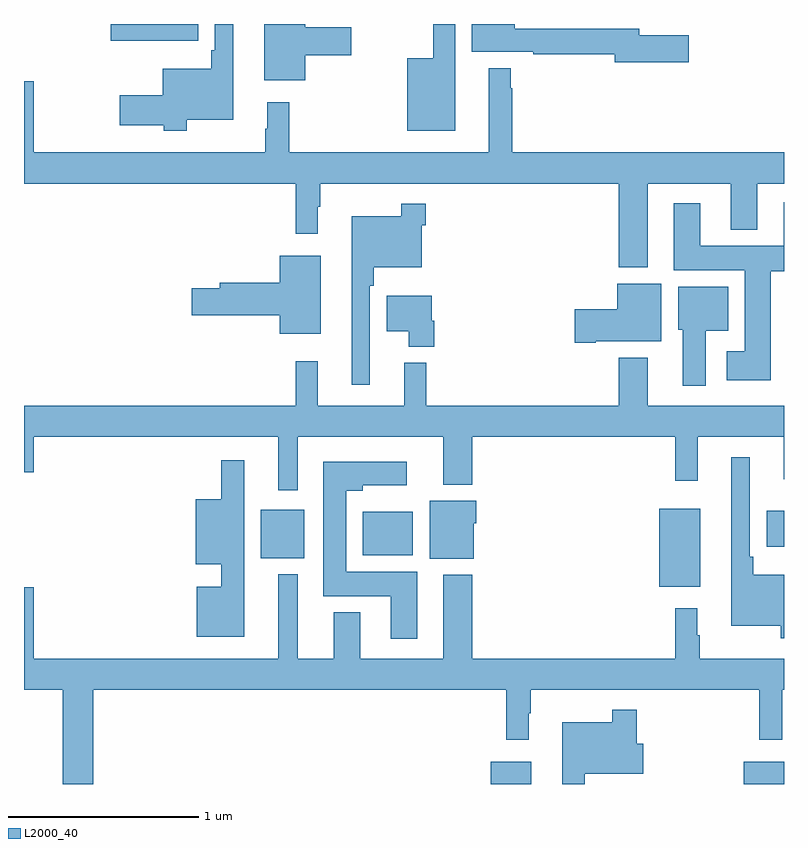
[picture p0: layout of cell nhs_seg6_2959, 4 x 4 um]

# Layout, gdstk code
import gdstk
lib = gdstk.Library(unit=1e-6, precision=1e-09)
def R(c, l, rs):  # rectangles x0, y0, x1, y1
    for r in rs: c.add(gdstk.rectangle(r[:2], r[2:], *l))
def P(c, l, *ps):  # polygons
    for p in ps: c.add(gdstk.Polygon(p, *l))
L2000_40 = (2000, 40)

nhs_seg6_2959 = lib.new_cell('nhs_seg6_2959')
R(nhs_seg6_2959, L2000_40, [(287.456,953.5,287.671,953.617), (288.788,953.5,289,953.617), (288.344,954.539,288.559,954.949), (286.247,954.689,286.474,954.943), (286.784,954.704,287.047,954.934), (288.908,954.749,289,954.937), (285.456,957.413,285.916,957.5)])
P(nhs_seg6_2959, L2000_40, [(287.269,957.5),(287.155,957.5),(287.155,957.319),(287.018,957.319),(287.018,956.939),(287.269,956.939)],
  [(286.48,957.335),(286.723,957.335),(286.723,957.482),(286.48,957.482),(286.48,957.5),(286.265,957.5),(286.265,957.203),(286.48,957.203)],
  [(288.499,957.44),(288.238,957.44),(288.238,957.476),(287.584,957.476),(287.584,957.5),(287.357,957.5),(287.357,957.353),(287.68,957.353),(287.68,957.34),(288.11,957.34),(288.11,957.298),(288.499,957.298)],
  [(285.856,956.996),(286.102,956.996),(286.102,957.5),(286.005,957.5),(286.005,957.361),(285.985,957.361),(285.985,957.265),(285.731,957.265),(285.731,957.124),(285.504,957.124),(285.504,956.966),(285.735,956.966),(285.735,956.939),(285.856,956.939)],
  [(288.283,956.66),(288.719,956.66),(288.719,956.417),(288.859,956.417),(288.859,956.66),(289,956.66),(289,956.824),(287.569,956.824),(287.569,957.161),(287.562,957.161),(287.562,957.268),(287.447,957.268),(287.447,956.824),(286.397,956.824),(286.397,957.088),(286.28,957.088),(286.28,956.948),(286.269,956.948),(286.269,956.824),(285.052,956.824),(285.052,957.199),(285,957.199),(285,956.66),(286.429,956.66),(286.429,956.397),(286.546,956.397),(286.546,956.537),(286.558,956.537),(286.558,956.66),(288.131,956.66),(288.131,956.219),(288.283,956.219)],
  [(288.929,956.198),(289,956.198),(289,956.563),(288.998,956.563),(288.998,956.332),(288.559,956.332),(288.559,956.557),(288.419,956.557),(288.419,956.204),(288.794,956.204),(288.794,955.777),(288.699,955.777),(288.699,955.625),(288.929,955.625)],
  [(286.821,956.123),(286.841,956.123),(286.841,956.219),(287.094,956.219),(287.094,956.441),(287.114,956.441),(287.114,956.554),(286.986,956.554),(286.986,956.488),(286.724,956.488),(286.724,955.602),(286.821,955.602)],
  [(286.561,956.281),(286.346,956.281),(286.346,956.138),(286.031,956.138),(286.031,956.108),(285.882,956.108),(285.882,955.966),(286.346,955.966),(286.346,955.871),(286.561,955.871)],
  [(288.01,955.829),(288.355,955.829),(288.355,956.134),(288.122,956.134),(288.122,956),(287.898,956),(287.898,955.822),(288.01,955.822)],
  [(288.589,955.886),(288.706,955.886),(288.706,956.116),(288.443,956.116),(288.443,955.89),(288.467,955.89),(288.467,955.596),(288.589,955.596)],
  [(287.159,955.938),(287.146,955.938),(287.146,956.071),(286.91,956.071),(286.91,955.883),(287.024,955.883),(287.024,955.802),(287.159,955.802)],
  [(287.207,955.076),(287.36,955.076),(287.36,955.328),(288.427,955.328),(288.427,955.095),(288.545,955.095),(288.545,955.328),(288.998,955.328),(288.998,955.103),(289,955.103),(289,955.492),(288.283,955.492),(288.283,955.744),(288.131,955.744),(288.131,955.492),(287.117,955.492),(287.117,955.717),(287,955.717),(287,955.492),(286.547,955.492),(286.547,955.726),(286.429,955.726),(286.429,955.492),(285,955.492),(285,955.14),(285.052,955.14),(285.052,955.328),(286.337,955.328),(286.337,955.047),(286.441,955.047),(286.441,955.328),(287.207,955.328)],
  [(289,954.601),(288.839,954.601),(288.839,954.697),(288.819,954.697),(288.819,955.219),(288.722,955.219),(288.722,954.332),(288.984,954.332),(288.984,954.267),(289,954.267)],
  [(286.159,955.204),(286.038,955.204),(286.038,955),(285.905,955),(285.905,954.656),(286.038,954.656),(286.038,954.538),(285.908,954.538),(285.908,954.275),(286.159,954.275)],
  [(287.071,954.616),(286.696,954.616),(286.696,955.043),(286.783,955.043),(286.783,955.073),(287.014,955.073),(287.014,955.195),(286.574,955.195),(286.574,954.488),(286.931,954.488),(286.931,954.264),(287.071,954.264)],
  [(287.368,954.873),(287.38,954.873),(287.38,954.991),(287.135,954.991),(287.135,954.686),(287.368,954.686)],
  [(285.365,953.996),(287.539,953.996),(287.539,953.733),(287.656,953.733),(287.656,953.873),(287.668,953.873),(287.668,953.996),(288.871,953.996),(288.871,953.733),(288.99,953.733),(288.99,953.996),(289,953.996),(289,954.16),(288.556,954.16),(288.556,954.284),(288.544,954.284),(288.544,954.424),(288.427,954.424),(288.427,954.16),(287.36,954.16),(287.36,954.601),(287.207,954.601),(287.207,954.16),(286.771,954.16),(286.771,954.403),(286.631,954.403),(286.631,954.16),(286.441,954.16),(286.441,954.604),(286.337,954.604),(286.337,954.16),(285.052,954.16),(285.052,954.535),(285,954.535),(285,953.996),(285.205,953.996),(285.205,953.5),(285.365,953.5)],
  [(287.951,953.555),(288.259,953.555),(288.259,953.713),(288.224,953.713),(288.224,953.89),(288.096,953.89),(288.096,953.824),(287.834,953.824),(287.834,953.5),(287.951,953.5)])

lib.write_gds('nhs_seg6_2959.gds')
